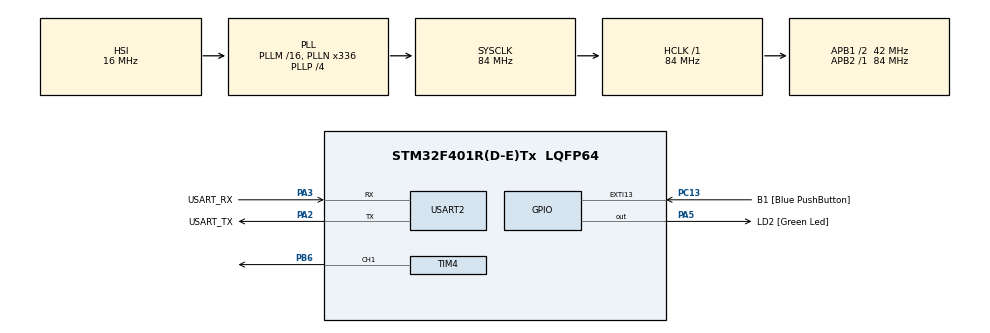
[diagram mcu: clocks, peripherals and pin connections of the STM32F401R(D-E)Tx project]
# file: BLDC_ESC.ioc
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Mcu.Family=STM32F4
Mcu.Name=STM32F401R(D-E)Tx
Mcu.Package=LQFP64
NVIC.PriorityGroup=NVIC_PRIORITYGROUP_0
NVIC.TIM1_UP_TIM10_IRQn=true\:0\:0\:false\:false\:true\:true
PA13.GPIO_Label=TMS
PA13.Mode=Serial_Wire
PA13.Signal=SYS_JTMS-SWDIO
PA14.GPIO_Label=TCK
PA14.Mode=Serial_Wire
PA14.Signal=SYS_JTCK-SWCLK
PA2.GPIO_Label=USART_TX
PA2.GPIO_Mode=GPIO_MODE_AF_PP
PA2.GPIO_PuPd=GPIO_NOPULL
PA2.GPIO_Speed=GPIO_SPEED_FREQ_LOW
PA2.Mode=Asynchronous
PA2.Signal=USART2_TX
PA3.GPIO_Label=USART_RX
PA3.GPIO_Mode=GPIO_MODE_AF_PP
PA3.GPIO_PuPd=GPIO_NOPULL
PA3.GPIO_Speed=GPIO_SPEED_FREQ_LOW
PA3.Mode=Asynchronous
PA3.Signal=USART2_RX
PA5.GPIO_Label=LD2 [Green Led]
PA5.GPIO_Mode=GPIO_MODE_OUTPUT_PP
PA5.GPIO_PuPd=GPIO_NOPULL
PA5.GPIO_Speed=GPIO_SPEED_FREQ_LOW
PA5.Signal=GPIO_Output
PB3.GPIO_Label=SWO
PB3.Signal=SYS_JTDO-SWO
PB6.Signal=S_TIM4_CH1
PC13-ANTI_TAMP.GPIO_Label=B1 [Blue PushButton]
PC13-ANTI_TAMP.GPIO_ModeDefaultEXTI=GPIO_MODE_IT_FALLING
PC13-ANTI_TAMP.GPIO_PuPd=GPIO_NOPULL
PC13-ANTI_TAMP.Signal=GPXTI13
PC14-OSC32_IN.Mode=LSE-External-Oscillator
PC14-OSC32_IN.Signal=RCC_OSC32_IN
PC15-OSC32_OUT.Mode=LSE-External-Oscillator
PC15-OSC32_OUT.Signal=RCC_OSC32_OUT
PH0\ -\ OSC_IN.Mode=HSE-External-Clock-Source
PH0\ -\ OSC_IN.Signal=RCC_OSC_IN
PH1\ -\ OSC_OUT.Mode=HSE-External-Clock-Source
PH1\ -\ OSC_OUT.Signal=RCC_OSC_OUT
ProjectManager.HeapSize=0x200
ProjectManager.StackSize=0x400
ProjectManager.TargetToolchain=EWARM
RCC.48MHZClocksFreq_Value=48000000
RCC.AHBFreq_Value=84000000
RCC.APB1CLKDivider=RCC_HCLK_DIV2
RCC.APB1Freq_Value=42000000
RCC.APB1TimFreq_Value=84000000
RCC.APB2Freq_Value=84000000
RCC.APB2TimFreq_Value=84000000
RCC.CortexFreq_Value=84000000
RCC.HCLKFreq_Value=84000000
RCC.HSE_VALUE=8000000
RCC.HSI_VALUE=16000000
RCC.PLLN=336
RCC.PLLP=RCC_PLLP_DIV4
RCC.PLLQ=7
RCC.SYSCLKFreq_VALUE=84000000
RCC.SYSCLKSource=RCC_SYSCLKSOURCE_PLLCLK
RCC.VCOOutputFreq_Value=336000000
SH.S_TIM4_CH1.0=TIM4_CH1,PWM Generation1 CH1
TIM1.Period=100-1
TIM1.Prescaler=840-1
TIM4.Channel-PWM\ Generation1\ CH1=TIM_CHANNEL_1
TIM4.Period=40000
TIM4.Prescaler=42-1
TIM4.Pulse-PWM\ Generation1\ CH1=3045
USART2.VirtualMode=VM_ASYNC
VP_TIM1_VS_ClockSourceINT.Mode=Internal
VP_TIM4_VS_ClockSourceINT.Mode=Internal
board=NUCLEO-F401RE

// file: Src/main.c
/**
  ******************************************************************************
  * @file           : main.c
  * @brief          : Main program body
  ******************************************************************************
  ** This notice applies to any and all portions of this file
  * that are not between comment pairs USER CODE BEGIN and
  * USER CODE END. Other portions of this file, whether
  * inserted by the user or by software development tools
  * are owned by their respective copyright owners.
  *
  * COPYRIGHT(c) 2022 STMicroelectronics
  *
  * Redistribution and use in source and binary forms, with or without modification,
  * are permitted provided that the following conditions are met:
  *   1. Redistributions of source code must retain the above copyright notice,
  *      this list of conditions and the following disclaimer.
  *   2. Redistributions in binary form must reproduce the above copyright notice,
  *      this list of conditions and the following disclaimer in the documentation
  *      and/or other materials provided with the distribution.
  *   3. Neither the name of STMicroelectronics nor the names of its contributors
  *      may be used to endorse or promote products derived from this software
  *      without specific prior written permission.
  *
  * THIS SOFTWARE IS PROVIDED BY THE COPYRIGHT HOLDERS AND CONTRIBUTORS "AS IS"
  * AND ANY EXPRESS OR IMPLIED WARRANTIES, INCLUDING, BUT NOT LIMITED TO, THE
  * IMPLIED WARRANTIES OF MERCHANTABILITY AND FITNESS FOR A PARTICULAR PURPOSE ARE
  * DISCLAIMED. IN NO EVENT SHALL THE COPYRIGHT HOLDER OR CONTRIBUTORS BE LIABLE
  * FOR ANY DIRECT, INDIRECT, INCIDENTAL, SPECIAL, EXEMPLARY, OR CONSEQUENTIAL
  * DAMAGES (INCLUDING, BUT NOT LIMITED TO, PROCUREMENT OF SUBSTITUTE GOODS OR
  * SERVICES; LOSS OF USE, DATA, OR PROFITS; OR BUSINESS INTERRUPTION) HOWEVER
  * CAUSED AND ON ANY THEORY OF LIABILITY, WHETHER IN CONTRACT, STRICT LIABILITY,
  * OR TORT (INCLUDING NEGLIGENCE OR OTHERWISE) ARISING IN ANY WAY OUT OF THE USE
  * OF THIS SOFTWARE, EVEN IF ADVISED OF THE POSSIBILITY OF SUCH DAMAGE.
  *
  ******************************************************************************
  */
#include "main.h"
#include "stm32f4xx_hal.h"

/* USER CODE BEGIN Includes */

#include "stdbool.h"

/* USER CODE END Includes */

TIM_HandleTypeDef htim1;
TIM_HandleTypeDef htim4;

UART_HandleTypeDef huart2;

/* USER CODE BEGIN PV */
/* Private variables ---------------------------------------------------------*/

bool start = 0;

uint16_t ccr_1 = 3045;
bool flag;
uint16_t cnt = 0;
uint16_t cnt_rate = 100;

/* USER CODE END PV */

void SystemClock_Config(void);
static void MX_GPIO_Init(void);
static void MX_USART2_UART_Init(void);
static void MX_TIM1_Init(void);
static void MX_TIM4_Init(void);

void HAL_TIM_MspPostInit(TIM_HandleTypeDef *htim);

/* USER CODE BEGIN PFP */
/* Private function prototypes -----------------------------------------------*/

/* USER CODE END PFP */

/* USER CODE BEGIN 0 */
void HAL_TIM_PeriodElapsedCallback(TIM_HandleTypeDef *htim)
{
  switch(start)
  {
  case 1 :
    if(htim->Instance == TIM1)
    {
      if(cnt == cnt_rate)
      {
        cnt = 0;
        if(flag == 0)
        {
          if(ccr_1 <= 3250)
          {
            ccr_1++;
          }
          else
          {
            ccr_1 = 3250;
            flag = 1;
          }
        }
        else
        {
          if(ccr_1 >= 2840)
          {
            ccr_1--;
          }
          else
          {
            ccr_1 = 2840;
            flag = 0;
          }
        }
      }
      else
      {
        cnt++;
      }

    }
  case 0:

  }
    TIM4->CCR1=ccr_1;
}
/* USER CODE END 0 */

int main(void)
{

  /* MCU Configuration----------------------------------------------------------*/

  /* Reset of all peripherals, Initializes the Flash interface and the Systick. */
  HAL_Init();

  /* Configure the system clock */
  SystemClock_Config();

  /* Initialize all configured peripherals */
  MX_GPIO_Init();
  MX_USART2_UART_Init();
  MX_TIM1_Init();
  MX_TIM4_Init();
  /* USER CODE BEGIN 2 */
  HAL_TIM_Base_Start_IT(&htim1);
  HAL_TIM_PWM_Start(&htim4, TIM_CHANNEL_1);
  /* USER CODE END 2 */

  /* Infinite loop */
  while (1)
  {

  }

}

void SystemClock_Config(void)
{

  RCC_OscInitTypeDef RCC_OscInitStruct;
  RCC_ClkInitTypeDef RCC_ClkInitStruct;

    /**Configure the main internal regulator output voltage
    */
  __HAL_RCC_PWR_CLK_ENABLE();

  __HAL_PWR_VOLTAGESCALING_CONFIG(PWR_REGULATOR_VOLTAGE_SCALE2);

    /**Initializes the CPU, AHB and APB busses clocks
    */
  RCC_OscInitStruct.OscillatorType = RCC_OSCILLATORTYPE_HSI;
  RCC_OscInitStruct.HSIState = RCC_HSI_ON;
  RCC_OscInitStruct.HSICalibrationValue = 16;
  RCC_OscInitStruct.PLL.PLLState = RCC_PLL_ON;
  RCC_OscInitStruct.PLL.PLLSource = RCC_PLLSOURCE_HSI;
  RCC_OscInitStruct.PLL.PLLM = 16;
  RCC_OscInitStruct.PLL.PLLN = 336;
  RCC_OscInitStruct.PLL.PLLP = RCC_PLLP_DIV4;
  RCC_OscInitStruct.PLL.PLLQ = 7;
  if (HAL_RCC_OscConfig(&RCC_OscInitStruct) != HAL_OK)
  {
    _Error_Handler(__FILE__, __LINE__);
  }

    /**Initializes the CPU, AHB and APB busses clocks
    */
  RCC_ClkInitStruct.ClockType = RCC_CLOCKTYPE_HCLK|RCC_CLOCKTYPE_SYSCLK
                              |RCC_CLOCKTYPE_PCLK1|RCC_CLOCKTYPE_PCLK2;
  RCC_ClkInitStruct.SYSCLKSource = RCC_SYSCLKSOURCE_PLLCLK;
  RCC_ClkInitStruct.AHBCLKDivider = RCC_SYSCLK_DIV1;
  RCC_ClkInitStruct.APB1CLKDivider = RCC_HCLK_DIV2;
  RCC_ClkInitStruct.APB2CLKDivider = RCC_HCLK_DIV1;

  if (HAL_RCC_ClockConfig(&RCC_ClkInitStruct, FLASH_LATENCY_2) != HAL_OK)
  {
    _Error_Handler(__FILE__, __LINE__);
  }

    /**Configure the Systick interrupt time
    */
  HAL_SYSTICK_Config(HAL_RCC_GetHCLKFreq()/1000);

    /**Configure the Systick
    */
  HAL_SYSTICK_CLKSourceConfig(SYSTICK_CLKSOURCE_HCLK);

  /* SysTick_IRQn interrupt configuration */
  HAL_NVIC_SetPriority(SysTick_IRQn, 0, 0);
}

/* TIM1 init function */
static void MX_TIM1_Init(void)
{

  TIM_ClockConfigTypeDef sClockSourceConfig;
  TIM_MasterConfigTypeDef sMasterConfig;

  htim1.Instance = TIM1;
  htim1.Init.Prescaler = 840-1;
  htim1.Init.CounterMode = TIM_COUNTERMODE_UP;
  htim1.Init.Period = 100-1;
  htim1.Init.ClockDivision = TIM_CLOCKDIVISION_DIV1;
  htim1.Init.RepetitionCounter = 0;
  if (HAL_TIM_Base_Init(&htim1) != HAL_OK)
  {
    _Error_Handler(__FILE__, __LINE__);
  }

  sClockSourceConfig.ClockSource = TIM_CLOCKSOURCE_INTERNAL;
  if (HAL_TIM_ConfigClockSource(&htim1, &sClockSourceConfig) != HAL_OK)
  {
    _Error_Handler(__FILE__, __LINE__);
  }

  sMasterConfig.MasterOutputTrigger = TIM_TRGO_RESET;
  sMasterConfig.MasterSlaveMode = TIM_MASTERSLAVEMODE_DISABLE;
  if (HAL_TIMEx_MasterConfigSynchronization(&htim1, &sMasterConfig) != HAL_OK)
  {
    _Error_Handler(__FILE__, __LINE__);
  }

}

/* TIM4 init function */
static void MX_TIM4_Init(void)
{

  TIM_ClockConfigTypeDef sClockSourceConfig;
  TIM_MasterConfigTypeDef sMasterConfig;
  TIM_OC_InitTypeDef sConfigOC;

  htim4.Instance = TIM4;
  htim4.Init.Prescaler = 42-1;
  htim4.Init.CounterMode = TIM_COUNTERMODE_UP;
  htim4.Init.Period = 40000;
  htim4.Init.ClockDivision = TIM_CLOCKDIVISION_DIV1;
  if (HAL_TIM_Base_Init(&htim4) != HAL_OK)
  {
    _Error_Handler(__FILE__, __LINE__);
  }

  sClockSourceConfig.ClockSource = TIM_CLOCKSOURCE_INTERNAL;
  if (HAL_TIM_ConfigClockSource(&htim4, &sClockSourceConfig) != HAL_OK)
  {
    _Error_Handler(__FILE__, __LINE__);
  }

  if (HAL_TIM_PWM_Init(&htim4) != HAL_OK)
  {
    _Error_Handler(__FILE__, __LINE__);
  }

  sMasterConfig.MasterOutputTrigger = TIM_TRGO_RESET;
  sMasterConfig.MasterSlaveMode = TIM_MASTERSLAVEMODE_DISABLE;
  if (HAL_TIMEx_MasterConfigSynchronization(&htim4, &sMasterConfig) != HAL_OK)
  {
    _Error_Handler(__FILE__, __LINE__);
  }

  sConfigOC.OCMode = TIM_OCMODE_PWM1;
  sConfigOC.Pulse = 2000;
  sConfigOC.OCPolarity = TIM_OCPOLARITY_HIGH;
  sConfigOC.OCFastMode = TIM_OCFAST_DISABLE;
  if (HAL_TIM_PWM_ConfigChannel(&htim4, &sConfigOC, TIM_CHANNEL_1) != HAL_OK)
  {
    _Error_Handler(__FILE__, __LINE__);
  }

  HAL_TIM_MspPostInit(&htim4);

}

/* USART2 init function */
static void MX_USART2_UART_Init(void)
{

  huart2.Instance = USART2;
  huart2.Init.BaudRate = 115200;
  huart2.Init.WordLength = UART_WORDLENGTH_8B;
  huart2.Init.StopBits = UART_STOPBITS_1;
  huart2.Init.Parity = UART_PARITY_NONE;
  huart2.Init.Mode = UART_MODE_TX_RX;
  huart2.Init.HwFlowCtl = UART_HWCONTROL_NONE;
  huart2.Init.OverSampling = UART_OVERSAMPLING_16;
  if (HAL_UART_Init(&huart2) != HAL_OK)
  {
    _Error_Handler(__FILE__, __LINE__);
  }

}

/** Configure pins as
        * Analog
        * Input
        * Output
        * EVENT_OUT
        * EXTI
*/
static void MX_GPIO_Init(void)
{

  GPIO_InitTypeDef GPIO_InitStruct;

  /* GPIO Ports Clock Enable */
  __HAL_RCC_GPIOC_CLK_ENABLE();
  __HAL_RCC_GPIOH_CLK_ENABLE();
  __HAL_RCC_GPIOA_CLK_ENABLE();
  __HAL_RCC_GPIOB_CLK_ENABLE();

  /*Configure GPIO pin Output Level */
  HAL_GPIO_WritePin(LD2_GPIO_Port, LD2_Pin, GPIO_PIN_RESET);

  /*Configure GPIO pin : B1_Pin */
  GPIO_InitStruct.Pin = B1_Pin;
  GPIO_InitStruct.Mode = GPIO_MODE_IT_FALLING;
  GPIO_InitStruct.Pull = GPIO_NOPULL;
  HAL_GPIO_Init(B1_GPIO_Port, &GPIO_InitStruct);

  /*Configure GPIO pin : LD2_Pin */
  GPIO_InitStruct.Pin = LD2_Pin;
  GPIO_InitStruct.Mode = GPIO_MODE_OUTPUT_PP;
  GPIO_InitStruct.Pull = GPIO_NOPULL;
  GPIO_InitStruct.Speed = GPIO_SPEED_FREQ_LOW;
  HAL_GPIO_Init(LD2_GPIO_Port, &GPIO_InitStruct);

}

void _Error_Handler(char *file, int line)
{
  while(1)
  {
  }
}

/************************ (C) COPYRIGHT STMicroelectronics *****END OF FILE****/
